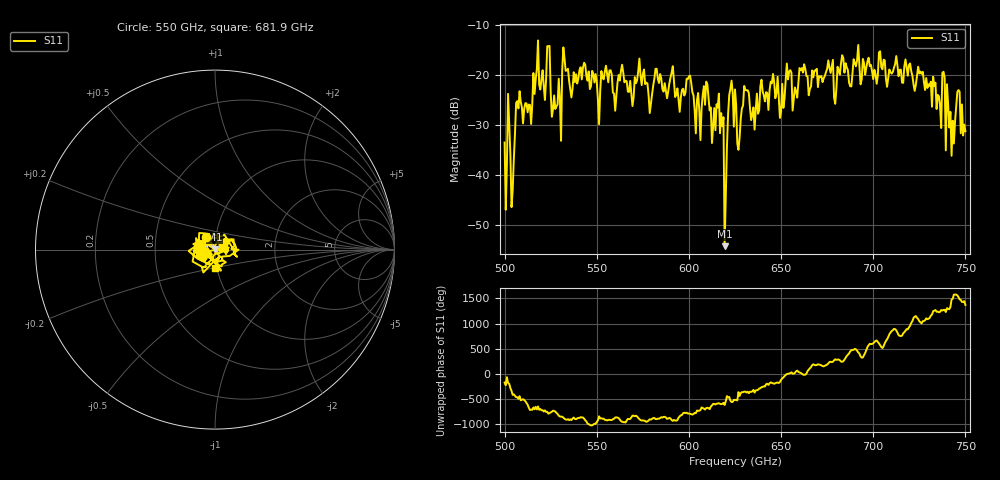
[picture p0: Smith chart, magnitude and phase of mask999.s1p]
!Created with skrf (http://scikit-rf.org).
# GHz S MA R 50.0
!freq magS11 angS11
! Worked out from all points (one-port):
!   401 points, 500 GHz to 750 GHz, reference 50 ohm
!   lowest |S11| = -54.3 dB at 619.4 GHz (marker M1), VSWR 1.00, Z = 49.9 + j0.186 ohm
!   |S11| at or under -10 dB: start of sweep to end of sweep
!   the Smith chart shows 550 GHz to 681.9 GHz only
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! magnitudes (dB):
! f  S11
! 500 GHz  -33.5
! 504.4 GHz  -43.1
! 507.5 GHz  -26.6
! 513.8 GHz  -25.9
! 516.9 GHz  -20.8
! 523.8 GHz  -14.2
! 526.9 GHz  -24.0
! 531.2 GHz  -19.0
! 562.5 GHz  -21.0
! 593.8 GHz  -22.6
! 600 GHz  -20.2
! 605 GHz  -23.6
! 609.4 GHz  -21.3
! 617.5 GHz  -27.6
! 619.4 GHz  -54.3
! 620.6 GHz  -34.3
! 622.5 GHz  -22.8
! 625 GHz  -22.8
! 627.5 GHz  -32.5
! 631.2 GHz  -23.0
! 635 GHz  -26.4
! 656.2 GHz  -27.1
! 687.5 GHz  -22.2
! 718.8 GHz  -20.1
! 738.8 GHz  -20.5
! 742.5 GHz  -36.1
! 746.9 GHz  -23.3
! 750 GHz  -31.2
